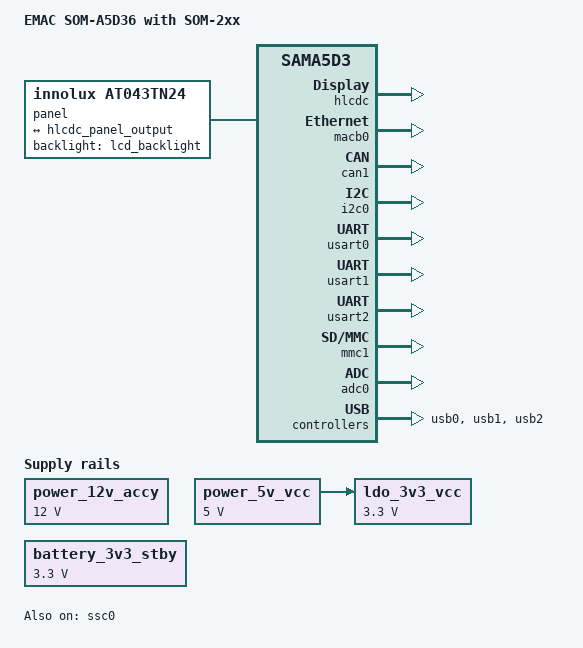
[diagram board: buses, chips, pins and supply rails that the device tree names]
// SPDX-License-Identifier: GPL-2.0-or-later
/*
 * som-a5d36-2xx.dts - Device Tree file for the SOM-A5D36 w/ 2xx EMAC Carriers.
 *
 * Copyright (C) 2023 EMAC Inc.
 *
 */

/dts-v1/;
#include "som-a5d36.dtsi"
#include <dt-bindings/gpio/gpio.h>

/ {
	model = "EMAC SOM-A5D36 with SOM-2xx";
	compatible = "emac,soma5d36", "atmel,sama5d36", "atmel,sama5d3", "atmel,sama5";
	
	regulators {
		power_12v_accy: power_12v_accy@6 {
			compatible = "regulator-fixed";
			reg = <6>;
			regulator-name = "POWER-HIGH-DRIVE-SUPPLY";
			regulator-min-microvolt = <12000000>;
			regulator-max-microvolt = <12000000>;
			regulator-always-on;
			// Controlled via a jumper
		};
		power_5v_vcc: power_5v_vcc@7 {
			compatible = "regulator-fixed";
			reg = <7>;
			regulator-name = "POWER";
			regulator-min-microvolt = <5000000>;
			regulator-max-microvolt = <5000000>;
			regulator-always-on;
		};
		ldo_3v3_vcc: ldo_3v3_vcc@8 {
			compatible = "regulator-fixed";
			reg = <8>;
			regulator-name = "3V3_LDO";
			regulator-min-microvolt = <3300000>;
			regulator-max-microvolt = <3300000>;
			regulator-always-on;
			vin-supply = <&power_5v_vcc>;
		};
		battery_3v3_stby: battery_3v3_stby@9 {
			compatible = "regulator-fixed";
			reg = <9>;
			regulator-name = "BATTERY";
			regulator-min-microvolt = <3300000>;
			regulator-max-microvolt = <3300000>;
			regulator-always-on;
		};
		rail_3v3_vcc@3 {
			vin-supply = <&ldo_3v3_vcc>;
		};
		rail_3v3_stby@4 {
			vin-supply = <&battery_3v3_stby>;
		};
	};

	panel: panel {
		compatible = "innolux,at043tn24", "simple-panel";
		backlight = <&lcd_backlight>;
		#address-cells = <1>;
		#size-cells = <0>;
		status = "okay";

		port@0 {
			#address-cells = <1>;
			#size-cells = <0>;

			panel_input: endpoint@0 {
				reg = <0>;
				remote-endpoint = <&hlcdc_panel_output>;
			};
		};
	};

	audio_center: sound {
		compatible = "simple-audio-card";
		status = "disabled";
		simple-audio-card,name = "sgtl5000";
		simple-audio-card,format = "i2s";
		simple-audio-card,widgets =
			"Line", "Line In",
			"Line", "Line Out";
		simple-audio-card,routing =
			"Line In", "Capture",
			"Line Out", "Playback";

		cpu_master: simple-audio-card,cpu {
			sound-dai = <&ssc0>;
		};
	};

};
&hlcdc {
	status = "okay";
};

&hlcdc_panel_output {
	remote-endpoint = <&panel_input>;
};

&macb0 {
	status = "okay";
};

&can1 {
	status = "okay";
};

&i2c0 {
	status = "okay";
};

&usart0 {
	status = "okay";
};

&usart1 {
	status = "okay";
};

&usart2 {
	status = "okay";
};

&mmc1 {
	pinctrl-names = "default";
	pinctrl-0 = <&pinctrl_mmc1_clk_cmd_dat0 &pinctrl_mmc1_dat1_3>;
	status = "okay";
	slot@0 {
		reg = <0>;
		bus-width = <4>;
		cd-gpios = <&pioC 5 GPIO_ACTIVE_LOW>;
	};
};

&ssc0 {
	status = "okay";
};

&adc0 {
	status = "okay";
};

&usb0 {
	status = "okay";
};

&usb1 {
	status = "okay";
};

&usb2 {
	status = "okay";
};
